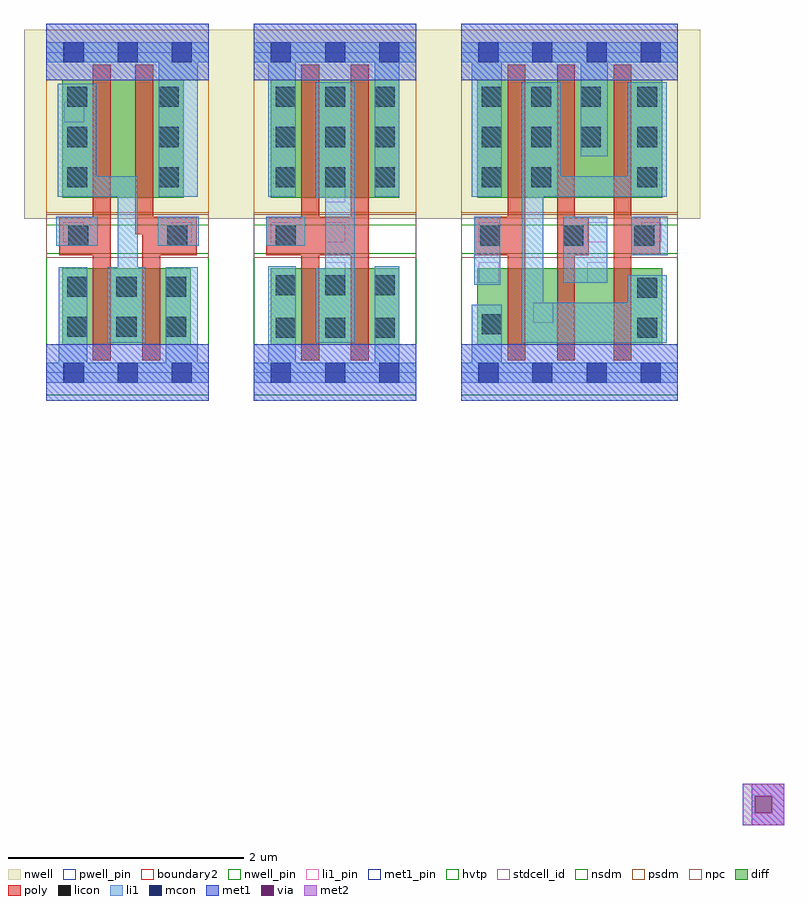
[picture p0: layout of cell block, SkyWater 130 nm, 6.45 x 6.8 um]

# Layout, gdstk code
import gdstk
lib = gdstk.Library(unit=1e-6, precision=1e-09)
def R(c, l, rs):  # rectangles x0, y0, x1, y1
    for r in rs: c.add(gdstk.rectangle(r[:2], r[2:], *l))
def A(c, l, x, y, w, h, nx, ny, dx, dy):  # array of equal rectangles
    R(c, l, [(x+i*dx, y+j*dy, x+i*dx+w, y+j*dy+h) for i in range(nx) for j in range(ny)])
def P(c, l, *ps):  # polygons
    for p in ps: c.add(gdstk.Polygon(p, *l))
nwell_pin = (64, 16)
nwell = (64, 20)
diff = (65, 20)
poly = (66, 20)
licon = (66, 44)
li1_pin = (67, 16)
li1 = (67, 20)
mcon = (67, 44)
met1_pin = (68, 16)
met1 = (68, 20)
via = (68, 44)
met2 = (69, 20)
hvtp = (78, 44)
stdcell_id = (81, 4)
nsdm = (93, 44)
psdm = (94, 20)
npc = (95, 20)
pwell_pin = (122, 16)
boundary2 = (236, 0)

sky130_fd_sc_hd__nor2_1 = lib.new_cell('sky130_fd_sc_hd__nor2_1')
R(sky130_fd_sc_hd__nor2_1, nwell_pin, [(0.15,2.635,0.32,2.805)])
R(sky130_fd_sc_hd__nor2_1, nwell, [(-0.19,1.305,1.57,2.91)])
R(sky130_fd_sc_hd__nor2_1, diff, [(0.135,0.235,1.225,0.885), (0.135,1.485,1.165,2.485)])
P(sky130_fd_sc_hd__nor2_1, poly, [(0.815,0.105),(0.815,1.175),(0.755,1.175),(0.755,2.615),(0.905,2.615),(0.905,1.325),(1.275,1.325),(1.275,0.995),(0.965,0.995),(0.965,0.105)],
  [(0.395,0.105),(0.395,0.995),(0.11,0.995),(0.11,1.325),(0.395,1.325),(0.395,2.615),(0.545,2.615),(0.545,0.105)])
A(sky130_fd_sc_hd__nor2_1, licon, 0.175, 0.305, 0.17, 0.17, 3, 2, 0.42, 0.34)
A(sky130_fd_sc_hd__nor2_1, licon, 0.175, 1.575, 0.17, 0.17, 1, 3, 0, 0.34)
A(sky130_fd_sc_hd__nor2_1, licon, 0.955, 1.575, 0.17, 0.17, 1, 3, 0, 0.34)
R(sky130_fd_sc_hd__nor2_1, licon, [(0.185,1.075,0.355,1.245), (1.025,1.075,1.195,1.245)])
R(sky130_fd_sc_hd__nor2_1, li1_pin, [(0.145,1.105,0.315,1.275), (1.065,1.105,1.235,1.275), (0.15,2.125,0.32,2.295)])
R(sky130_fd_sc_hd__nor2_1, li1, [(0.085,1.075,0.435,1.325), (0.945,1.075,1.295,1.325)])
P(sky130_fd_sc_hd__nor2_1, li1, [(0,-0.085),(0,0.085),(0.105,0.085),(0.105,0.895),(0.345,0.895),(0.345,0.085),(1.015,0.085),(1.015,0.895),(1.285,0.895),(1.285,0.085),(1.38,0.085),(1.38,-0.085)],
  [(0.955,1.495),(0.955,2.635),(0,2.635),(0,2.805),(1.38,2.805),(1.38,2.635),(1.285,2.635),(1.285,1.495)],
  [(0.515,0.255),(0.515,0.895),(0.605,0.895),(0.605,1.495),(0.095,1.495),(0.095,2.45),(0.425,2.45),(0.425,1.665),(0.775,1.665),(0.775,0.895),(0.845,0.895),(0.845,0.255)])
A(sky130_fd_sc_hd__nor2_1, mcon, 0.145, -0.085, 0.17, 0.17, 3, 2, 0.46, 2.72)
R(sky130_fd_sc_hd__nor2_1, met1_pin, [(0.15,-0.085,0.32,0.085), (0.15,2.635,0.32,2.805)])
R(sky130_fd_sc_hd__nor2_1, hvtp, [(0,1.25,1.38,2.72)])
R(sky130_fd_sc_hd__nor2_1, stdcell_id, [(0,0,1.38,2.72)])
R(sky130_fd_sc_hd__nor2_1, nsdm, [(0,-0.19,1.38,1.015)])
R(sky130_fd_sc_hd__nor2_1, psdm, [(0,1.355,1.38,2.91)])
R(sky130_fd_sc_hd__nor2_1, npc, [(0,0.975,1.38,1.345)])
R(sky130_fd_sc_hd__nor2_1, pwell_pin, [(0.15,-0.085,0.32,0.085)])
R(sky130_fd_sc_hd__nor2_1, boundary2, [(0,0,1.38,2.72)])
sky130_fd_sc_hd__nor2_1.add(gdstk.FlexPath([(0,2.72),(1.38,2.72)], 0.48, ends="flush", simple_path=True, layer=68, datatype=20))  # met1
sky130_fd_sc_hd__nor2_1.add(gdstk.FlexPath([(0,0),(1.38,0)], 0.48, ends="flush", simple_path=True, layer=68, datatype=20))  # met1
sky130_fd_sc_hd__nor2_1.add(gdstk.Label('B', (0.23,1.19), layer=67, texttype=5))
sky130_fd_sc_hd__nor2_1.add(gdstk.Label('Y', (0.235,2.21), layer=67, texttype=5))
sky130_fd_sc_hd__nor2_1.add(gdstk.Label('A', (1.15,1.19), layer=67, texttype=5))
sky130_fd_sc_hd__nor2_1.add(gdstk.Label('VPB', (0.235,2.72), layer=64, texttype=5))
sky130_fd_sc_hd__nor2_1.add(gdstk.Label('VNB', (0.235,0), layer=64, texttype=59))
sky130_fd_sc_hd__nor2_1.add(gdstk.Label('VGND', (0.23,0), layer=68, texttype=5))
sky130_fd_sc_hd__nor2_1.add(gdstk.Label('VPWR', (0.23,2.72), layer=68, texttype=5))
sky130_fd_sc_hd__nor2_1.add(gdstk.Label('nor2_1', (0,0), layer=83, texttype=44))

sky130_fd_sc_hd__inv_2 = lib.new_cell('sky130_fd_sc_hd__inv_2')
R(sky130_fd_sc_hd__inv_2, nwell_pin, [(0.145,2.635,0.315,2.805)])
R(sky130_fd_sc_hd__inv_2, nwell, [(-0.19,1.305,1.57,2.91)])
R(sky130_fd_sc_hd__inv_2, diff, [(0.145,0.235,1.235,0.885), (0.145,1.485,1.235,2.485)])
P(sky130_fd_sc_hd__inv_2, poly, [(0.405,0.105),(0.405,0.995),(0.105,0.995),(0.105,1.325),(0.405,1.325),(0.405,2.615),(0.555,2.615),(0.555,1.325),(0.825,1.325),(0.825,2.615),(0.975,2.615),(0.975,0.105),(0.825,0.105),(0.825,0.995),(0.555,0.995),(0.555,0.105)])
A(sky130_fd_sc_hd__inv_2, licon, 0.185, 0.295, 0.17, 0.17, 3, 2, 0.42, 0.36)
A(sky130_fd_sc_hd__inv_2, licon, 0.185, 1.575, 0.17, 0.17, 3, 3, 0.42, 0.34)
R(sky130_fd_sc_hd__inv_2, licon, [(0.185,1.075,0.355,1.245)])
A(sky130_fd_sc_hd__inv_2, li1_pin, 0.605, 0.765, 0.17, 0.17, 1, 3, 0, 0.34)
R(sky130_fd_sc_hd__inv_2, li1_pin, [(0.145,1.105,0.315,1.275)])
R(sky130_fd_sc_hd__inv_2, li1, [(0.105,1.075,0.435,1.325)])
P(sky130_fd_sc_hd__inv_2, li1, [(0.125,1.495),(0.125,2.635),(0,2.635),(0,2.805),(1.38,2.805),(1.38,2.635),(1.235,2.635),(1.235,1.495),(1.025,1.495),(1.025,2.635),(0.355,2.635),(0.355,1.495)],
  [(0.525,0.255),(0.525,0.885),(0.605,0.885),(0.605,1.485),(0.525,1.485),(0.525,2.465),(0.855,2.465),(0.855,0.255)],
  [(0,-0.085),(0,0.085),(0.125,0.085),(0.125,0.905),(0.355,0.905),(0.355,0.085),(1.025,0.085),(1.025,0.905),(1.235,0.905),(1.235,0.085),(1.38,0.085),(1.38,-0.085)])
A(sky130_fd_sc_hd__inv_2, mcon, 0.145, -0.085, 0.17, 0.17, 3, 2, 0.46, 2.72)
R(sky130_fd_sc_hd__inv_2, met1_pin, [(0.145,-0.085,0.315,0.085), (0.145,2.635,0.315,2.805)])
R(sky130_fd_sc_hd__inv_2, hvtp, [(0,1.25,1.38,2.72)])
R(sky130_fd_sc_hd__inv_2, stdcell_id, [(0,0,1.38,2.72)])
R(sky130_fd_sc_hd__inv_2, nsdm, [(0,-0.19,1.38,1.015)])
R(sky130_fd_sc_hd__inv_2, psdm, [(0,1.355,1.38,2.91)])
R(sky130_fd_sc_hd__inv_2, npc, [(0,0.975,1.38,1.345)])
R(sky130_fd_sc_hd__inv_2, pwell_pin, [(0.145,-0.085,0.315,0.085)])
R(sky130_fd_sc_hd__inv_2, boundary2, [(0,0,1.38,2.72)])
sky130_fd_sc_hd__inv_2.add(gdstk.FlexPath([(0,2.72),(1.38,2.72)], 0.48, ends="flush", simple_path=True, layer=68, datatype=20))  # met1
sky130_fd_sc_hd__inv_2.add(gdstk.FlexPath([(0,0),(1.38,0)], 0.48, ends="flush", simple_path=True, layer=68, datatype=20))  # met1
sky130_fd_sc_hd__inv_2.add(gdstk.Label('A', (0.23,1.19), layer=67, texttype=5))
sky130_fd_sc_hd__inv_2.add(gdstk.Label('Y', (0.69,0.85), layer=67, texttype=5))
sky130_fd_sc_hd__inv_2.add(gdstk.Label('Y', (0.69,1.53), layer=67, texttype=5))
sky130_fd_sc_hd__inv_2.add(gdstk.Label('Y', (0.69,1.19), layer=67, texttype=5))
sky130_fd_sc_hd__inv_2.add(gdstk.Label('VPB', (0.23,2.72), layer=64, texttype=5))
sky130_fd_sc_hd__inv_2.add(gdstk.Label('VNB', (0.23,0), layer=64, texttype=59))
sky130_fd_sc_hd__inv_2.add(gdstk.Label('VPWR', (0.23,2.72), layer=68, texttype=5))
sky130_fd_sc_hd__inv_2.add(gdstk.Label('VGND', (0.23,0), layer=68, texttype=5))
sky130_fd_sc_hd__inv_2.add(gdstk.Label('inv_2', (0,0), layer=83, texttype=44))

sky130_fd_sc_hd__nand3_1 = lib.new_cell('sky130_fd_sc_hd__nand3_1')
R(sky130_fd_sc_hd__nand3_1, nwell_pin, [(0.15,2.635,0.32,2.805)])
R(sky130_fd_sc_hd__nand3_1, nwell, [(-0.19,1.305,2.03,2.91)])
R(sky130_fd_sc_hd__nand3_1, diff, [(0.135,0.235,1.705,0.885), (0.135,1.485,1.705,2.485)])
P(sky130_fd_sc_hd__nand3_1, poly, [(1.295,0.105),(1.295,2.615),(1.445,2.615),(1.445,1.325),(1.69,1.325),(1.69,0.995),(1.445,0.995),(1.445,0.105)],
  [(0.815,0.105),(0.815,2.615),(0.965,2.615),(0.965,1.325),(1.085,1.325),(1.085,0.995),(0.965,0.995),(0.965,0.105)],
  [(0.395,0.105),(0.395,0.995),(0.11,0.995),(0.11,1.325),(0.395,1.325),(0.395,2.615),(0.545,2.615),(0.545,0.105)])
A(sky130_fd_sc_hd__nand3_1, licon, 1.495, 1.575, 0.17, 0.17, 1, 3, 0, 0.34)
A(sky130_fd_sc_hd__nand3_1, licon, 0.175, 1.915, 0.17, 0.17, 3, 2, 0.42, 0.34)
R(sky130_fd_sc_hd__nand3_1, licon, [(1.495,0.295,1.665,0.465), (0.175,0.325,0.345,0.495), (1.495,0.635,1.665,0.805), (0.16,1.075,0.33,1.245), (0.865,1.075,1.035,1.245), (1.47,1.075,1.64,1.245), (0.175,1.575,0.345,1.745), (0.595,1.575,0.765,1.745)])
R(sky130_fd_sc_hd__nand3_1, li1_pin, [(0.61,0.425,0.78,0.595), (0.15,0.765,0.32,0.935), (1.07,0.765,1.24,0.935), (0.15,1.105,0.32,1.275), (1.07,1.105,1.24,1.275), (1.53,1.105,1.7,1.275)])
R(sky130_fd_sc_hd__nand3_1, li1, [(0.11,0.745,0.33,1.325), (0.865,0.765,1.24,1.325), (1.445,0.995,1.755,1.325)])
P(sky130_fd_sc_hd__nand3_1, li1, [(0.09,1.495),(0.09,2.635),(0,2.635),(0,2.805),(1.84,2.805),(1.84,2.635),(1.245,2.635),(1.245,1.835),(1.015,1.835),(1.015,2.635),(0.345,2.635),(0.345,1.495)],
  [(0,-0.085),(0,0.085),(0.09,0.085),(0.09,0.575),(0.345,0.575),(0.345,0.085),(1.84,0.085),(1.84,-0.085)],
  [(0.515,0.255),(0.515,2.465),(0.845,2.465),(0.845,1.665),(1.415,1.665),(1.415,2.465),(1.745,2.465),(1.745,1.495),(0.695,1.495),(0.695,0.595),(1.415,0.595),(1.415,0.825),(1.745,0.825),(1.745,0.255)])
A(sky130_fd_sc_hd__nand3_1, mcon, 0.145, -0.085, 0.17, 0.17, 4, 2, 0.46, 2.72)
R(sky130_fd_sc_hd__nand3_1, met1_pin, [(0.15,-0.085,0.32,0.085), (0.15,2.635,0.32,2.805)])
R(sky130_fd_sc_hd__nand3_1, hvtp, [(0,1.25,1.84,2.72)])
R(sky130_fd_sc_hd__nand3_1, stdcell_id, [(0,0,1.84,2.72)])
R(sky130_fd_sc_hd__nand3_1, nsdm, [(0,-0.19,1.84,1.015)])
R(sky130_fd_sc_hd__nand3_1, psdm, [(0,1.355,1.84,2.91)])
R(sky130_fd_sc_hd__nand3_1, npc, [(0,0.975,1.84,1.345)])
R(sky130_fd_sc_hd__nand3_1, pwell_pin, [(0.15,-0.085,0.32,0.085)])
R(sky130_fd_sc_hd__nand3_1, boundary2, [(0,0,1.84,2.72)])
sky130_fd_sc_hd__nand3_1.add(gdstk.FlexPath([(0,2.72),(1.84,2.72)], 0.48, ends="flush", simple_path=True, layer=68, datatype=20))  # met1
sky130_fd_sc_hd__nand3_1.add(gdstk.FlexPath([(0,0),(1.84,0)], 0.48, ends="flush", simple_path=True, layer=68, datatype=20))  # met1
sky130_fd_sc_hd__nand3_1.add(gdstk.Label('Y', (0.695,0.51), layer=67, texttype=5))
sky130_fd_sc_hd__nand3_1.add(gdstk.Label('A', (1.615,1.19), layer=67, texttype=5))
sky130_fd_sc_hd__nand3_1.add(gdstk.Label('C', (0.235,1.19), layer=67, texttype=5))
sky130_fd_sc_hd__nand3_1.add(gdstk.Label('B', (1.155,1.19), layer=67, texttype=5))
sky130_fd_sc_hd__nand3_1.add(gdstk.Label('VPB', (0.235,2.72), layer=64, texttype=5))
sky130_fd_sc_hd__nand3_1.add(gdstk.Label('VNB', (0.235,0), layer=64, texttype=59))
sky130_fd_sc_hd__nand3_1.add(gdstk.Label('VGND', (0.235,0), layer=68, texttype=5))
sky130_fd_sc_hd__nand3_1.add(gdstk.Label('VPWR', (0.235,2.72), layer=68, texttype=5))
sky130_fd_sc_hd__nand3_1.add(gdstk.Label('nand3_1', (0,0), layer=83, texttype=44))

block = lib.new_cell('block')
R(block, met1, [(5.985,-3.84,6.26,-3.49)])
R(block, via, [(6.01,-3.74,6.16,-3.59)])
R(block, met2, [(5.91,-3.84,6.26,-3.49)])
block.add(gdstk.Reference(sky130_fd_sc_hd__nor2_1, (0,0)))
block.add(gdstk.Reference(sky130_fd_sc_hd__inv_2, (1.76,0)))
block.add(gdstk.Reference(sky130_fd_sc_hd__nand3_1, (3.52,0)))

lib.write_gds('block.gds')
